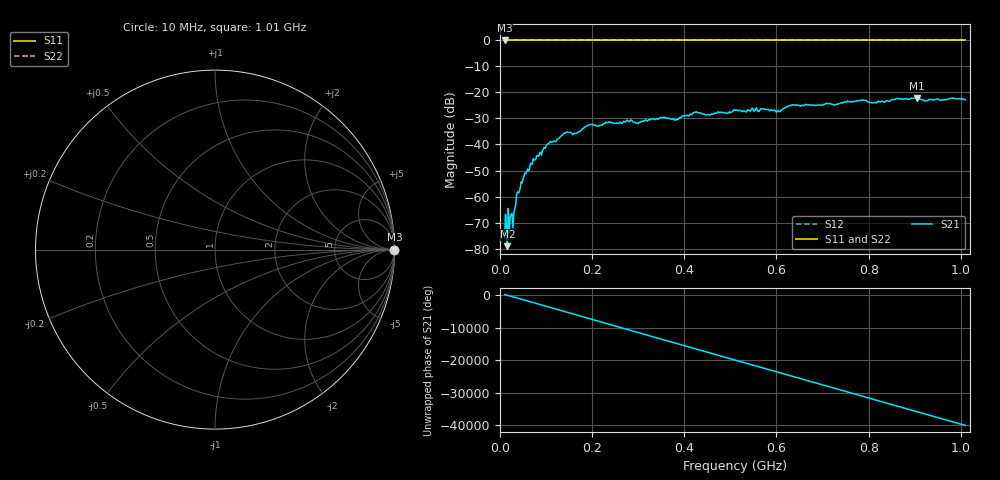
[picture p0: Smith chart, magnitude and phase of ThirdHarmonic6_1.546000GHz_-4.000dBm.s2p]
! 8/16/2025 6:20:22 PM
! C:\ANRITSUVNA\TEMP\TEMP.S2P
! CHANNEL.1
! TR.MEASUREMENT
! RAW.DATA
! RF.CORRECTION.OFF
! AVERAGING.OFF
! IF.BANDWIDTH: 5KHZ
! SWEEPTYPE:  FREQ.SWEEP(Linear)
! Reference Plane Port Info
! PORT:  PORT1  PORT2
! DISTANCE:  0  m  0  m
! TIME:  0  s  0  s
! PHASE.OFFSET:  0  deg.  0  deg.
! LOSS:  0  dB  0  dB
! REF.LOSS:  0  dB  0  dB
! REF.FREQ:  0  Hz  0  Hz
! Power Info
! POWER:  -20  dBm  -20  dBm
! EFF.POWER:  -20  dBm  -20  dBm
! SOURCE.ATTEN:  0  dB  0  dB
! TEST.ATTEN:  0  dB  0  dB
# GHZ S RI R 50.0
! FREQ.GHZ  S11RE  S11IM  S21RE  S21IM  S12RE  S12IM  S22RE  S22IM
!; PortSelection: Port_12
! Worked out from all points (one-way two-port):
!   501 points, 10 MHz to 1.01 GHz, reference 50 ohm
!   highest |S21| = -22.10 dB at 904 MHz (marker M1); lowest = -79.1 dB at 16 MHz (marker M2)
!   lowest |S11| = 0.0 dB at 10 MHz (marker M3)
!   |S11| at or under -10 dB: nowhere
!   |S22| runs from 0.0 to 0.0 dB; largest |S21 - S12| = 1.1
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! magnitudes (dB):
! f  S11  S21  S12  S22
! 10 MHz  0.0  -76.1  0.0  0.0
! 12 MHz  0.0  -66.9  0.0  0.0
! 16 MHz  0.0  -79.1  0.0  0.0
! 20 MHz  0.0  -74.0  0.0  0.0
! 22 MHz  0.0  -67.9  0.0  0.0
! 24 MHz  0.0  -67.1  0.0  0.0
! 30 MHz  0.0  -66.1  0.0  0.0
! 40 MHz  0.0  -58.6  0.0  0.0
! 50 MHz  0.0  -53.2  0.0  0.0
! 70 MHz  0.0  -47.7  0.0  0.0
! 106 MHz  0.0  -39.5  0.0  0.0
! 142 MHz  0.0  -35.6  0.0  0.0
! 178 MHz  0.0  -34.1  0.0  0.0
! 198 MHz  0.0  -32.3  0.0  0.0
! 344 MHz  0.0  -30.3  0.0  0.0
! 510 MHz  0.0  -26.8  0.0  0.0
! 604 MHz  0.0  -27.0  0.0  0.0
! 632 MHz  0.0  -24.9  0.0  0.0
! 678 MHz  0.0  -24.9  0.0  0.0
! 844 MHz  0.0  -23.5  0.0  0.0
! 904 MHz  0.0  -22.1  0.0  0.0
! 1.01 GHz  0.0  -22.7  0.0  0.0
